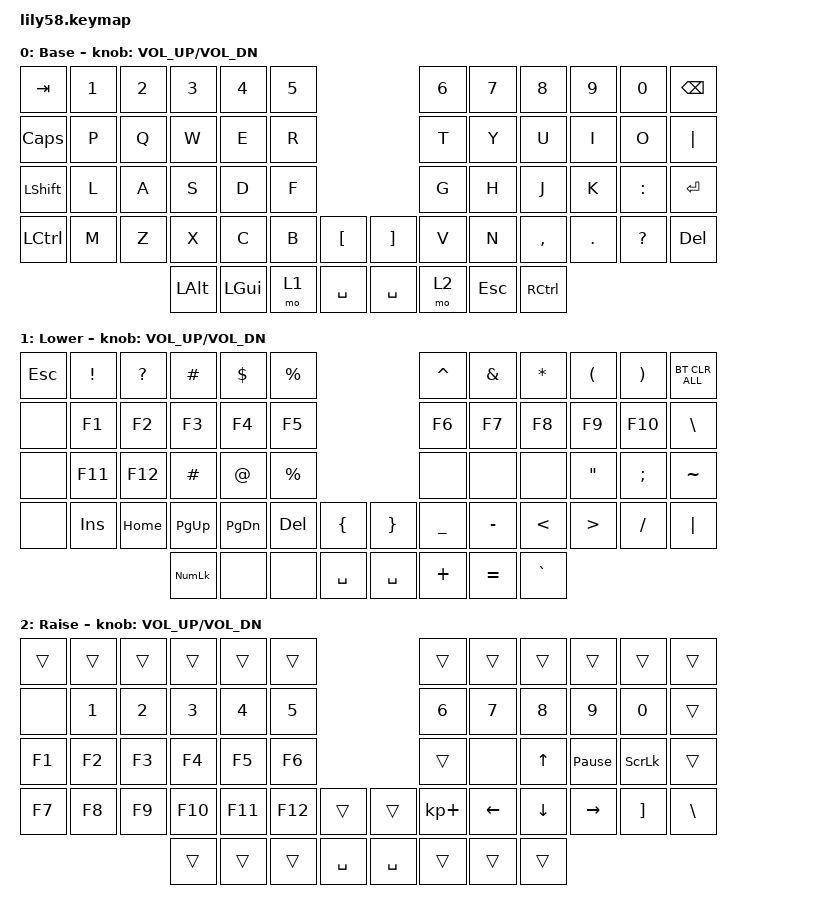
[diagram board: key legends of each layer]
/*
 * Copyright (c) 2020 The ZMK Contributors
 *
 * SPDX-License-Identifier: MIT
 */

#include <behaviors.dtsi>
#include <dt-bindings/zmk/bt.h>
#include <dt-bindings/zmk/keys.h>

/ {
    keymap {
        compatible = "zmk,keymap";

        default_layer {
            // ------------------------------------------------------------------------------------------------------------
            // |  ESC  |  1  |  2  |  3   |  4   |  5   |                   |  6   |  7    |  8    |  9   |   0   |   `   |
            // |  TAB  |  Q  |  W  |  E   |  R   |  T   |                   |  Y   |  U    |  I    |  O   |   P   |   -   |
            // |  CTRL |  A  |  S  |  D   |  F   |  G   |                   |  H   |  J    |  K    |  L   |   ;   |   '   |
            // | SHIFT |  Z  |  X  |  C   |  V   |  B   |   "["  |  |  "]"  |  N   |  M    |  ,    |  .   |   /   | SHIFT |
            //                     | ALT  | GUI  | LOWER|  SPACE |  | ENTER | RAISE| BSPC  | GUI   |

            display-name = "Base";
            bindings = <
&kp TAB         &kp N1  &kp N2  &kp N3    &kp N4    &kp N5                          &kp N6  &kp N7      &kp N8     &kp N9   &kp N0        &kp BACKSPACE
&kp CAPSLOCK    &kp P   &kp Q   &kp W     &kp E     &kp R                           &kp T   &kp Y       &kp U      &kp I    &kp O         &kp PIPE
&kp LEFT_SHIFT  &kp L   &kp A   &kp S     &kp D     &kp F                           &kp G   &kp H       &kp J      &kp K    &kp COLON     &kp ENTER
&kp LCTRL       &kp M   &kp Z   &kp X     &kp C     &kp B   &kp LBKT     &kp RBKT   &kp V   &kp N       &kp COMMA  &kp DOT  &kp QUESTION  &kp DELETE
                                &kp LALT  &kp LGUI  &mo 1   &kp SPACE    &kp SPACE  &mo 2   &kp ESCAPE  &kp RCTRL
            >;

            sensor-bindings = <&inc_dec_kp C_VOL_UP C_VOL_DN>;
        };

        lower_layer {
            // ------------------------------------------------------------------------------------------------------------
            // | BTCLR | BT1 | BT2 |  BT3 |  BT4 |  BT5 |                   |      |       |       |      |       |       |
            // |  F1   |  F2 |  F3 |  F4  |  F5  |  F6  |                   |  F7  |  F8   |  F9   |  F10 |  F11  |  F12  |
            // |   `   |  !  |  @  |  #   |  $   |  %   |                   |  ^   |  &    |  *    |  (   |   )   |   ~   |
            // |       |     |     |      |      |      |        |  |       |      |  _    |  +    |  {   |   }   |  "|"  |
            //                     |      |      |      |        |  |       |      |       |       |

            display-name = "Lower";
            bindings = <
&kp ESCAPE  &kp EXCLAMATION  &kp QUESTION  &kp HASH        &kp DOLLAR     &kp PERCENT                                     &kp CARET       &kp AMPERSAND  &kp ASTERISK   &kp LEFT_PARENTHESIS  &kp RIGHT_PARENTHESIS  &bt BT_CLR_ALL
&none       &kp F1           &kp F2        &kp F3          &kp F4         &kp F5                                          &kp F6          &kp F7         &kp F8         &kp F9                &kp F10                &kp BACKSLASH
&none       &kp F11          &kp F12       &kp HASH        &kp AT_SIGN    &kp PRCNT                                       &none           &none          &none          &kp DOUBLE_QUOTES     &kp SEMICOLON          &kp TILDE
&none       &kp INSERT       &kp HOME      &kp PAGE_UP     &kp PAGE_DOWN  &kp DELETE   &kp LEFT_BRACE    &kp RIGHT_BRACE  &kp UNDERSCORE  &kp MINUS      &kp LESS_THAN  &kp GREATER_THAN      &kp SLASH              &kp PIPE
                                           &kp KP_NUMLOCK  &none          &none        &kp SPACE         &kp SPACE        &kp PLUS        &kp EQUAL      &kp GRAVE
            >;

            sensor-bindings = <&inc_dec_kp C_VOL_UP C_VOL_DN>;
        };

        raise_layer {
            // ------------------------------------------------------------------------------------------------------------
            // |       |     |     |      |      |      |                   |      |       |       |      |       |       |
            // |   `   |  1  |  2  |  3   |  4   |  5   |                   |  6   |   7   |   8   |  9   |   0   |       |
            // |   F1  |  F2 |  F3 |  F4  |  F5  |  F6  |                   |      |   <-  |   v   |  ^   |  ->   |       |
            // |   F7  |  F8 |  F9 |  F10 |  F11 |  F12 |        |  |       |  +   |   -   |   =   |  [   |   ]   |   \   |
            //                     |      |      |      |        |  |       |      |       |       |

            display-name = "Raise";
            bindings = <
&trans  &trans  &trans  &trans   &trans   &trans                           &trans       &trans    &trans        &trans           &trans          &trans
&none   &kp N1  &kp N2  &kp N3   &kp N4   &kp N5                           &kp N6       &kp N7    &kp N8        &kp N9           &kp N0          &trans
&kp F1  &kp F2  &kp F3  &kp F4   &kp F5   &kp F6                           &trans       &none     &kp UP_ARROW  &kp PAUSE_BREAK  &kp SCROLLLOCK  &trans
&kp F7  &kp F8  &kp F9  &kp F10  &kp F11  &kp F12  &trans       &trans     &kp KP_PLUS  &kp LEFT  &kp DOWN      &kp RIGHT        &kp RBKT        &kp BSLH
                        &trans   &trans   &trans   &kp SPACE    &kp SPACE  &trans       &trans    &trans
            >;

            sensor-bindings = <&inc_dec_kp C_VOL_UP C_VOL_DN>;
        };
    };
};
